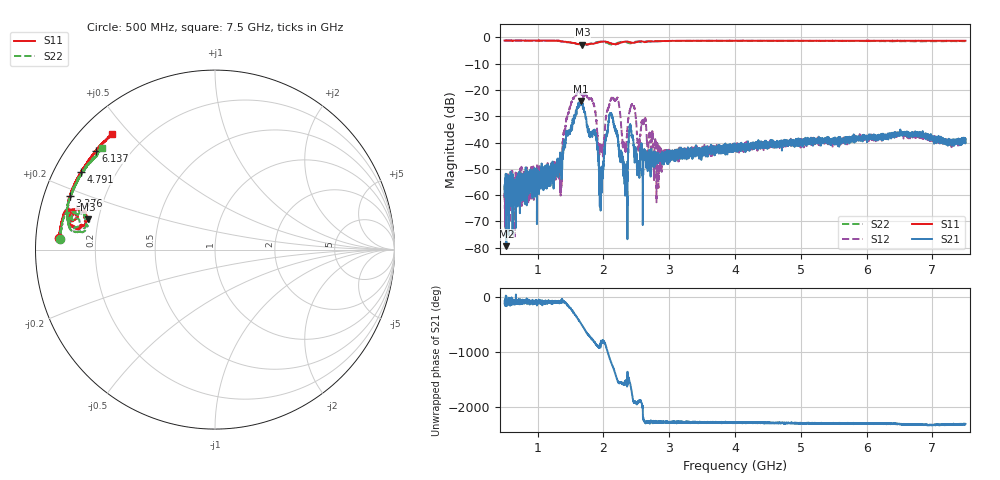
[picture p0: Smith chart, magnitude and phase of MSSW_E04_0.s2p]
!Keysight Technologies,M9374A,MY55442783,A.12.55.05
!Date: Wednesday, May 19, 2021 18:06:27
!Correction: S11(Full 2 Port(1,2))
!S21(Full 2 Port(1,2))
!S12(Full 2 Port(1,2))
!S22(Full 2 Port(1,2))
!S2P File: Measurements: S11, S21, S12, S22:
# Hz S  RI  R 50
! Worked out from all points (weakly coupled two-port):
!   7001 points, 500 MHz to 7.5 GHz, reference 50 ohm
!   highest |S21| = -24.17 dB at 1.662 GHz (marker M1); lowest = -79.4 dB at 526 MHz (marker M2)
!   lowest |S11| = -2.8 dB at 1.681 GHz (marker M3), VSWR 6.31, Z = 8.03 + j5.72 ohm
!   |S11| at or under -10 dB: nowhere
!   |S22| runs from -2.9 to -1.2 dB; largest |S21 - S12| = 0.065
!   S11 on the Smith chart (normalised r, x): 500 MHz: 0.07, +0.04; 3.376 GHz: 0.08, +0.18; 4.791 GHz: 0.08, +0.27; 6.137 GHz: 0.08, +0.36; 7.5 GHz: 0.09, +0.44
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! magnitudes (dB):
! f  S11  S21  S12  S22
! 500 MHz  -1.2  -57.8  -59.1  -1.2
! 526 MHz  -1.2  -79.4  -56.8  -1.2
! 1.331 GHz  -1.3  -49.0  -48.8  -1.4
! 1.467 GHz  -1.8  -36.3  -28.7  -1.8
! 1.662 GHz  -2.6  -24.2  -21.5  -2.8
! 1.667 GHz  -2.7  -25.0  -21.8  -2.9
! 1.681 GHz  -2.8  -25.1  -21.9  -2.9
! 1.843 GHz  -2.5  -36.1  -24.6  -2.2
! 1.963 GHz  -1.6  -49.5  -41.2  -1.6
! 2.114 GHz  -2.2  -28.9  -23.7  -2.6
! 2.334 GHz  -1.6  -54.5  -42.2  -1.7
! 2.418 GHz  -2.0  -34.3  -26.4  -2.3
! 2.526 GHz  -1.7  -48.2  -41.6  -1.6
! 2.615 GHz  -1.7  -44.2  -32.6  -1.8
! 2.834 GHz  -1.5  -45.7  -45.1  -1.5
! 3.376 GHz  -1.3  -45.1  -44.5  -1.3
! 4 GHz  -1.3  -42.7  -41.4  -1.3
! 4.791 GHz  -1.3  -39.2  -40.6  -1.3
! 5.167 GHz  -1.3  -39.1  -40.0  -1.3
! 6.137 GHz  -1.3  -38.9  -38.4  -1.4
! 6.334 GHz  -1.3  -38.1  -37.9  -1.4
! 7.5 GHz  -1.3  -40.1  -39.2  -1.4
